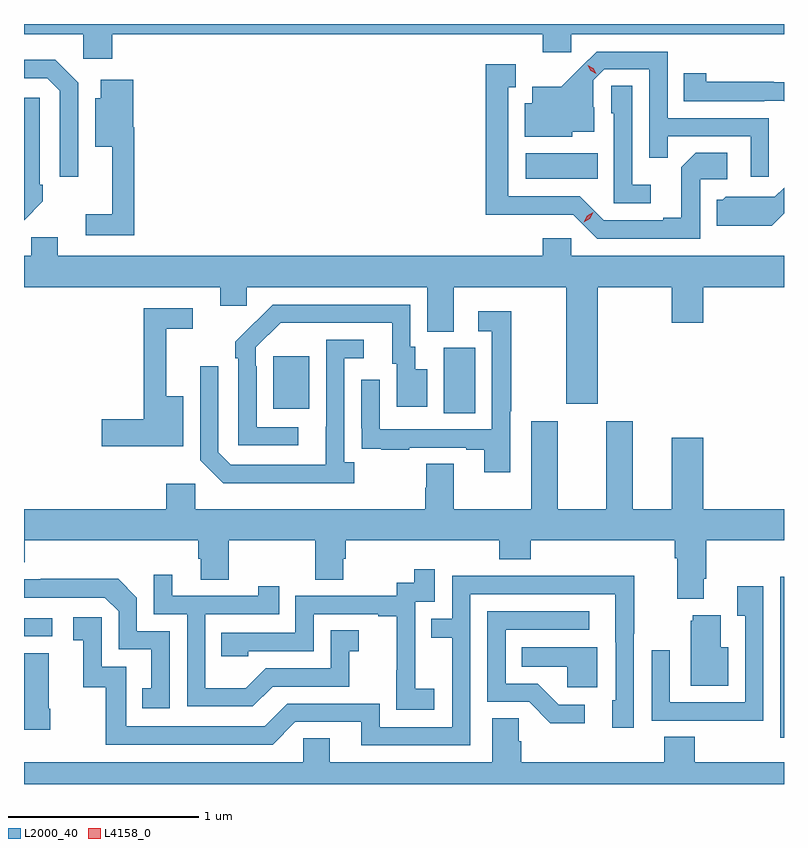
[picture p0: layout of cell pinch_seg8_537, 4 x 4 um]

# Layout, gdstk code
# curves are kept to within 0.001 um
import gdstk
lib = gdstk.Library(unit=1e-6, precision=1e-09)
def R(c, l, rs):  # rectangles x0, y0, x1, y1
    for r in rs: c.add(gdstk.rectangle(r[:2], r[2:], *l))
def P(c, l, *ps):  # polygons
    for p in ps: c.add(gdstk.Polygon(p, *l))
L2000_40 = (2000, 40)
L4158_0 = (4158, 0)

pinch_seg8_537 = lib.new_cell('pinch_seg8_537')
R(pinch_seg8_537, L2000_40, [(117.627,1110.132,117.646,1110.979), (113.646,1110.666,113.794,1110.762), (115.856,1111.84,116.02,1112.184), (114.959,1111.865,115.147,1112.14), (116.286,1113.074,116.666,1113.208)])
P(pinch_seg8_537, L2000_40, [(114.11,1113.836),(116.375,1113.836),(116.375,1113.741),(116.526,1113.741),(116.526,1113.836),(117.646,1113.836),(117.646,1113.889),(113.646,1113.889),(113.646,1113.836),(113.958,1113.836),(113.958,1113.705),(114.11,1113.705)],
  [(117.567,1113.393),(117.033,1113.393),(117.033,1113.744),(116.66,1113.744),(116.473,1113.559),(116.321,1113.559),(116.321,1113.472),(116.282,1113.472),(116.282,1113.296),(116.532,1113.296),(116.532,1113.323),(116.647,1113.323),(116.647,1113.452),(116.643,1113.452),(116.643,1113.594),(116.7,1113.651),(116.937,1113.651),(116.937,1113.184),(117.035,1113.184),(117.035,1113.297),(117.471,1113.297),(117.471,1113.084),(117.567,1113.084)],
  [(113.931,1113.579),(113.81,1113.7),(113.646,1113.7),(113.646,1113.603),(113.769,1113.603),(113.835,1113.537),(113.835,1113.084),(113.931,1113.084)],
  [(117.204,1113.072),(117.346,1113.072),(117.346,1113.212),(117.181,1113.212),(117.105,1113.136),(117.105,1112.869),(117.011,1112.869),(117.011,1112.856),(116.697,1112.856),(116.571,1112.982),(116.194,1112.982),(116.194,1113.555),(116.233,1113.555),(116.233,1113.676),(116.076,1113.676),(116.076,1112.885),(116.538,1112.886),(116.664,1112.76),(117.204,1112.76)],
  [(117.646,1113.583),(117.593,1113.583),(117.593,1113.584),(117.237,1113.584),(117.237,1113.631),(117.118,1113.631),(117.118,1113.483),(117.542,1113.483),(117.542,1113.486),(117.642,1113.486),(117.646,1113.482)],
  [(114.227,1113.346),(114.221,1113.346),(114.221,1113.595),(114.05,1113.595),(114.05,1113.499),(114.02,1113.499),(114.02,1113.242),(114.11,1113.242),(114.11,1112.887),(113.97,1112.887),(113.97,1112.778),(114.227,1112.778)],
  [(116.944,1113.043),(116.847,1113.043),(116.847,1113.563),(116.736,1113.563),(116.736,1113.42),(116.751,1113.42),(116.751,1112.946),(116.944,1112.946)],
  [(113.745,1112.955),(113.745,1113.043),(113.73,1113.043),(113.73,1113.501),(113.646,1113.501),(113.646,1112.856)],
  [(117.646,1112.894),(117.646,1113.028),(117.597,1112.979),(117.474,1112.979),(117.474,1112.98),(117.34,1112.98),(117.324,1112.964),(117.293,1112.964),(117.293,1112.828),(117.581,1112.828)],
  [(116.665,1112.504),(117.056,1112.504),(117.056,1112.316),(117.22,1112.316),(117.22,1112.504),(117.646,1112.504),(117.646,1112.668),(116.526,1112.668),(116.526,1112.761),(116.375,1112.761),(116.375,1112.668),(113.824,1112.668),(113.824,1112.766),(113.685,1112.766),(113.685,1112.668),(113.646,1112.668),(113.646,1112.504),(114.68,1112.504),(114.68,1112.406),(114.819,1112.406),(114.819,1112.504),(115.769,1112.504),(115.769,1112.269),(115.909,1112.269),(115.909,1112.504),(116.501,1112.504),(116.501,1111.89),(116.665,1111.89)],
  [(115.09,1111.767),(114.87,1111.767),(114.87,1112.087),(114.867,1112.087),(114.867,1112.187),(114.996,1112.316),(115.583,1112.316),(115.583,1112.1),(115.607,1112.1),(115.607,1111.875),(115.768,1111.875),(115.768,1112.071),(115.705,1112.071),(115.705,1112.19),(115.68,1112.19),(115.68,1112.412),(114.956,1112.412),(114.759,1112.217),(114.759,1112.129),(114.774,1112.129),(114.774,1111.671),(115.09,1111.671)],
  [(114.484,1111.93),(114.395,1111.93),(114.395,1112.286),(114.535,1112.286),(114.535,1112.394),(114.277,1112.394),(114.277,1111.808),(114.054,1111.808),(114.054,1111.666),(114.484,1111.666)],
  [(116.205,1111.852),(116.21,1111.852),(116.21,1112.377),(116.037,1112.377),(116.037,1112.271),(116.109,1112.271),(116.109,1111.755),(115.518,1111.755),(115.518,1112.017),(115.422,1112.017),(115.422,1111.762),(115.423,1111.762),(115.423,1111.653),(115.525,1111.653),(115.525,1111.647),(115.673,1111.647),(115.673,1111.659),(115.973,1111.659),(115.973,1111.647),(116.069,1111.647),(116.069,1111.53),(116.205,1111.53)],
  [(115.384,1111.582),(115.332,1111.582),(115.332,1112.13),(115.435,1112.13),(115.435,1112.226),(115.236,1112.226),(115.235,1111.569),(114.735,1111.569),(114.669,1111.635),(114.669,1112.089),(114.573,1112.089),(114.573,1111.593),(114.694,1111.472),(115.384,1111.472)],
  [(117.223,1110.97),(117.236,1110.97),(117.236,1111.172),(117.646,1111.172),(117.646,1111.336),(117.22,1111.336),(117.22,1111.711),(117.056,1111.711),(117.056,1111.336),(116.851,1111.336),(116.851,1111.798),(116.711,1111.798),(116.711,1111.336),(116.455,1111.336),(116.455,1111.798),(116.315,1111.798),(116.315,1111.336),(115.909,1111.336),(115.909,1111.574),(115.762,1111.574),(115.762,1111.449),(115.757,1111.449),(115.757,1111.336),(114.546,1111.336),(114.546,1111.468),(114.395,1111.468),(114.395,1111.336),(113.646,1111.336),(113.646,1111.055),(113.651,1111.055),(113.651,1111.172),(114.563,1111.172),(114.563,1111.074),(114.575,1111.074),(114.575,1110.964),(114.723,1110.964),(114.723,1111.172),(115.18,1111.172),(115.18,1110.964),(115.327,1110.964),(115.327,1111.074),(115.34,1111.074),(115.34,1111.172),(116.147,1111.172),(116.147,1111.073),(116.312,1111.073),(116.312,1111.172),(117.071,1111.172),(117.071,1111.076),(117.083,1111.076),(117.083,1110.863),(117.223,1110.863)],
  [(115.804,1110.391),(115.706,1110.391),(115.706,1110.62),(115.704,1110.62),(115.704,1110.849),(115.809,1110.849),(115.809,1111.018),(115.701,1111.018),(115.701,1110.948),(115.608,1110.948),(115.608,1110.879),(115.074,1110.879),(115.074,1110.684),(114.685,1110.684),(114.685,1110.561),(114.825,1110.561),(114.825,1110.588),(115.17,1110.588),(115.17,1110.783),(115.511,1110.783),(115.511,1110.771),(115.607,1110.771),(115.607,1110.487),(115.606,1110.487),(115.606,1110.281),(115.804,1110.281)],
  [(114.955,1110.402),(115.359,1110.402),(115.359,1110.587),(115.408,1110.587),(115.408,1110.697),(115.26,1110.697),(115.26,1110.498),(114.918,1110.498),(114.814,1110.394),(114.6,1110.394),(114.6,1110.783),(114.989,1110.783),(114.989,1110.931),(114.878,1110.931),(114.878,1110.879),(114.427,1110.879),(114.427,1110.991),(114.33,1110.991),(114.33,1110.783),(114.504,1110.783),(114.504,1110.297),(114.85,1110.297)],
  [(115.995,1110.888),(116.759,1110.888),(116.76,1110.33),(116.741,1110.33),(116.741,1110.186),(116.856,1110.186),(116.856,1110.679),(116.859,1110.679),(116.859,1110.986),(116.395,1110.986),(116.395,1110.984),(115.899,1110.984),(115.899,1110.759),(115.789,1110.759),(115.789,1110.658),(115.899,1110.658),(115.899,1110.189),(115.518,1110.189),(115.518,1110.312),(115.032,1110.312),(114.912,1110.192),(114.183,1110.192),(114.183,1110.507),(114.054,1110.507),(114.054,1110.766),(113.904,1110.766),(113.904,1110.645),(113.957,1110.645),(113.957,1110.399),(114.075,1110.399),(114.075,1110.096),(114.954,1110.096),(115.074,1110.216),(115.421,1110.216),(115.421,1110.093),(115.995,1110.093)],
  [(114.414,1110.693),(114.24,1110.693),(114.24,1110.87),(114.142,1110.968),(113.734,1110.968),(113.734,1110.966),(113.646,1110.966),(113.646,1110.87),(114.072,1110.87),(114.144,1110.798),(114.144,1110.597),(114.317,1110.597),(114.317,1110.393),(114.268,1110.393),(114.268,1110.288),(114.414,1110.288)],
  [(117.537,1110.931),(117.401,1110.931),(117.401,1110.775),(117.441,1110.775),(117.441,1110.318),(117.045,1110.318),(117.045,1110.592),(116.949,1110.592),(116.949,1110.222),(117.265,1110.222),(117.265,1110.221),(117.537,1110.221)],
  [(116.596,1110.306),(116.461,1110.306),(116.35,1110.417),(116.181,1110.417),(116.181,1110.702),(116.62,1110.702),(116.62,1110.798),(116.085,1110.798),(116.085,1110.321),(116.304,1110.321),(116.417,1110.209),(116.596,1110.209)],
  [(117.352,1110.61),(117.313,1110.61),(117.313,1110.778),(117.167,1110.778),(117.167,1110.747),(117.155,1110.747),(117.155,1110.407),(117.352,1110.407)],
  [(116.662,1110.61),(116.266,1110.61),(116.266,1110.506),(116.505,1110.506),(116.505,1110.398),(116.662,1110.398)],
  [(113.784,1110.286),(113.776,1110.286),(113.776,1110.577),(113.646,1110.577),(113.646,1110.174),(113.784,1110.174)],
  [(117.646,1110.004),(117.177,1110.004),(117.177,1110.137),(117.017,1110.137),(117.017,1110.004),(116.264,1110.004),(116.264,1110.113),(116.25,1110.113),(116.25,1110.236),(116.111,1110.236),(116.111,1110.004),(115.255,1110.004),(115.255,1110.131),(115.116,1110.131),(115.116,1110.004),(113.646,1110.004),(113.646,1109.889),(117.646,1109.889)])
P(pinch_seg8_537, L4158_0, [(116.659,1113.626),(116.628,1113.642),(116.612,1113.672),(116.612,1113.672),(116.612,1113.672),(116.642,1113.657),(116.659,1113.627),(116.659,1113.626)],
  [(116.592,1112.846),(116.592,1112.846),(116.61,1112.879),(116.642,1112.898),(116.642,1112.898),(116.642,1112.897),(116.624,1112.865),(116.593,1112.846)])

lib.write_gds('pinch_seg8_537.gds')
